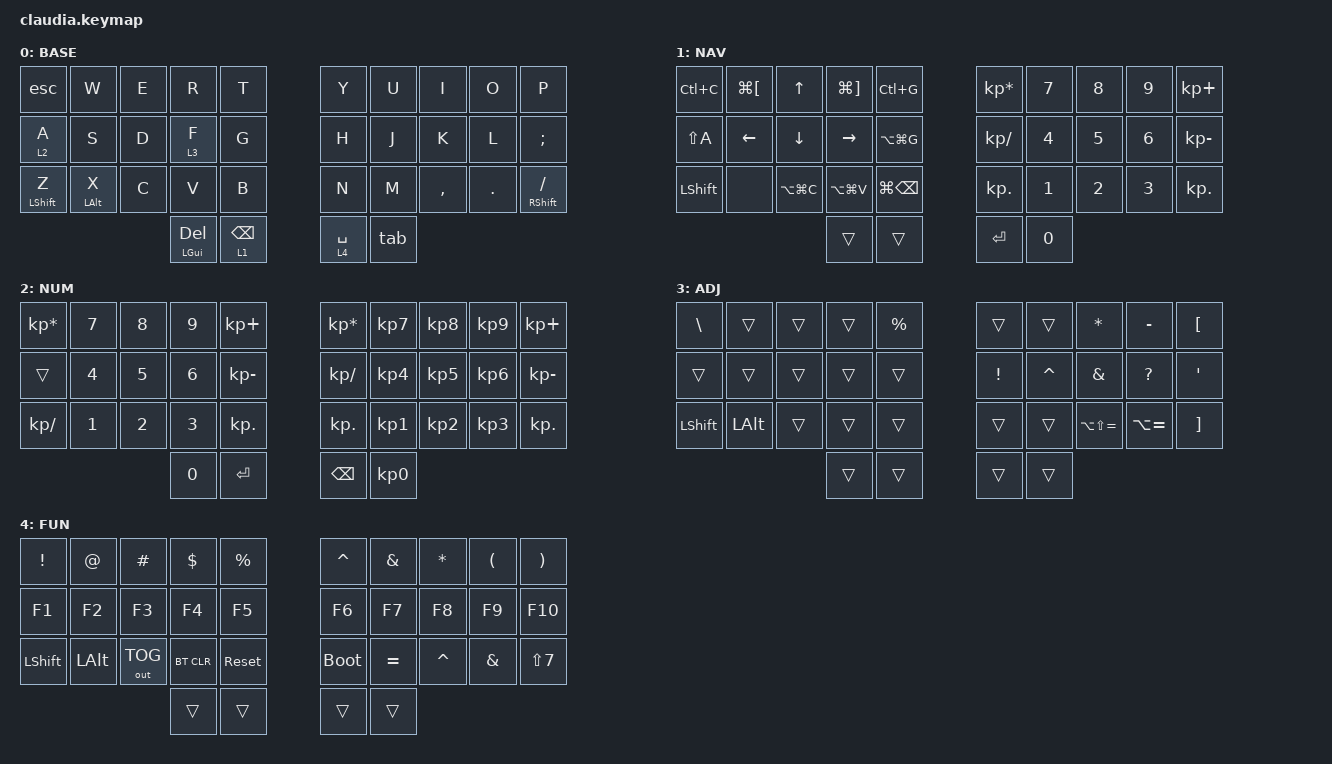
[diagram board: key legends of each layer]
#include <behaviors.dtsi>
#include <dt-bindings/zmk/bt.h>
#include <dt-bindings/zmk/keys.h>
#include <dt-bindings/zmk/outputs.h>

/ {
    combos {
        compatible = "zmk,combos";

        lang {
            bindings = <&kp LG(SPACE)>;
            key-positions = <32 33>;
        };

        spotlight {
            bindings = <&kp LC(SPACE)>;
            key-positions = <31 30>;
        };
    };

    behaviors {
        hm: HOMEROW_MODS {
            compatible = "zmk,behavior-hold-tap";
            label = "HOMEROW_MODS";
            bindings = <&kp>, <&kp>;

            #binding-cells = <2>;
            tapping-term-ms = <185>;
            quick-tap-ms = <0>;
            flavor = "balanced";
        };

        hs: HOMEROW_SHIFT {
            compatible = "zmk,behavior-hold-tap";
            label = "HOMEROW_SHIFT";
            bindings = <&kp>, <&kp>;

            #binding-cells = <2>;
            tapping-term-ms = <185>;
            quick-tap-ms = <0>;
            flavor = "balanced";
        };

        esc: esc {
            compatible = "zmk,behavior-tap-dance";
            label = "ESC";
            #binding-cells = <0>;
            bindings = <&kp Q>, <&kp ESC>;

            tapping-term-ms = <200>;
        };

        tab: tab {
            compatible = "zmk,behavior-tap-dance";
            label = "TAB";
            #binding-cells = <0>;
            bindings = <&mt LCTRL ENTER>, <&kp TAB>;

            tapping-term-ms = <250>;
        };
    };

    keymap {
        compatible = "zmk,keymap";

        BASE {
            bindings = <
&esc         &kp W       &kp E         &kp R       &kp T    &kp Y        &kp U  &kp I      &kp O    &kp P
&lt 2 A      &kp S       &kp D         &lt 3 F     &kp G    &kp H        &kp J  &kp K      &kp L    &kp SEMI
&hs LSHFT Z  &hm LALT X  &kp C         &kp V       &kp B    &kp N        &kp M  &kp COMMA  &kp DOT  &hs RSHFT FSLH
                         &mt LGUI DEL  &lt 1 BSPC           &lt 4 SPACE         &tab
            >;
        };

        NAV {
            bindings = <
&kp LC(C)  &kp LG(LBKT)  &kp UP         &kp LG(RBKT)   &kp LC(G)        &kp KP_MULTIPLY  &kp N7  &kp N8  &kp N9  &kp KP_PLUS
&kp LS(A)  &kp LEFT      &kp DOWN       &kp RIGHT      &kp LA(LG(G))    &kp KP_DIVIDE    &kp N4  &kp N5  &kp N6  &kp KP_MINUS
&kp LSHFT  &none         &kp LA(LG(C))  &kp LA(LG(V))  &kp LG(BSPC)     &kp KP_DOT       &kp N1  &kp N2  &kp N3  &kp KP_DOT
                         &trans         &trans                          &kp ENTER                &kp N0
            >;
        };

        NUM {
            bindings = <
&kp KP_MULTIPLY  &kp N7  &kp N8  &kp N9     &kp KP_PLUS     &kp KP_MULTIPLY  &kp KP_NUMBER_7  &kp KP_NUMBER_8  &kp KP_NUMBER_9  &kp KP_PLUS
&trans           &kp N4  &kp N5  &kp N6     &kp KP_MINUS    &kp KP_DIVIDE    &kp KP_NUMBER_4  &kp KP_NUMBER_5  &kp KP_NUMBER_6  &kp KP_MINUS
&kp KP_DIVIDE    &kp N1  &kp N2  &kp N3     &kp KP_DOT      &kp KP_DOT       &kp KP_NUMBER_1  &kp KP_NUMBER_2  &kp KP_NUMBER_3  &kp KP_DOT
                         &kp N0  &kp ENTER                  &kp BACKSPACE                     &kp KP_NUMBER_0
            >;
        };

        ADJ {
            bindings = <
&kp BSLH   &trans    &trans  &trans  &kp PERCENT    &trans    &trans     &kp STAR           &kp MINUS      &kp LBKT
&trans     &trans    &trans  &trans  &trans         &kp EXCL  &kp CARET  &kp AMPS           &kp QMARK      &kp SQT
&kp LSHFT  &kp LALT  &trans  &trans  &trans         &trans    &trans     &kp LA(LS(EQUAL))  &kp LA(EQUAL)  &kp RBKT
                     &trans  &trans                 &trans               &trans
            >;
        };

        FUN {
            bindings = <
&kp EXCL   &kp AT    &kp HASH      &kp DLLR    &kp PRCNT     &kp CARET    &kp AMPS   &kp STAR   &kp LPAR  &kp RPAR
&kp F1     &kp F2    &kp F3        &kp F4      &kp F5        &kp F6       &kp F7     &kp F8     &kp F9    &kp F10
&kp LSHFT  &kp LALT  &out OUT_TOG  &bt BT_CLR  &sys_reset    &bootloader  &kp EQUAL  &kp CARET  &kp AMPS  &kp LS(NUMBER_7)
                     &trans        &trans                    &trans                  &trans
            >;
        };
    };
};
